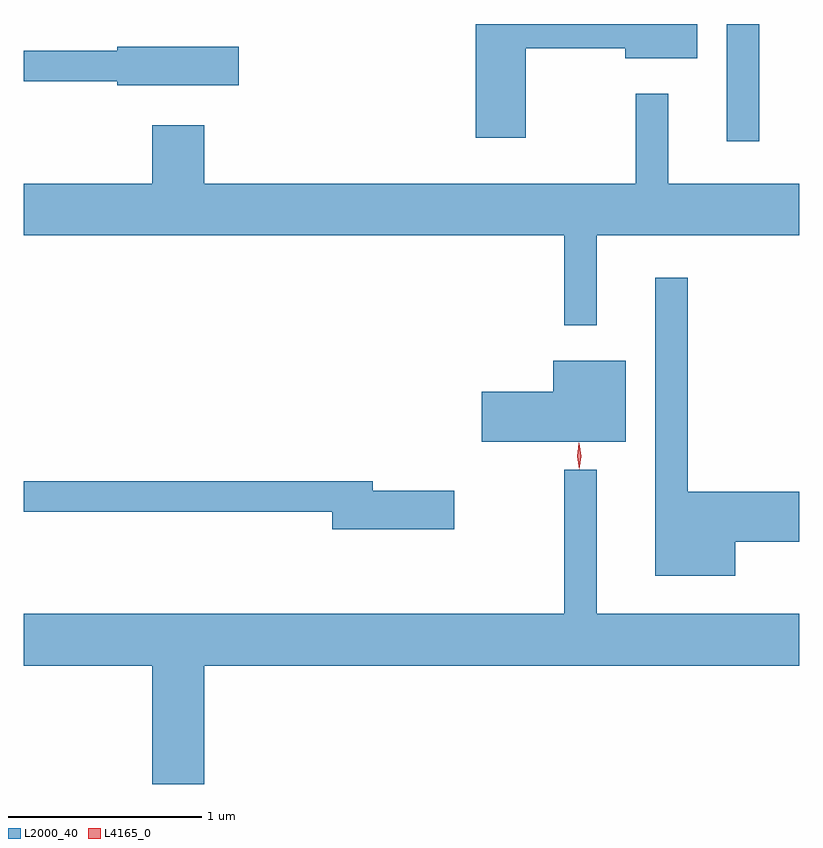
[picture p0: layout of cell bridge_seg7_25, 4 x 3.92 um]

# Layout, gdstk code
import gdstk
lib = gdstk.Library(unit=1e-6, precision=1e-09)
def R(c, l, rs):  # rectangles x0, y0, x1, y1
    for r in rs: c.add(gdstk.rectangle(r[:2], r[2:], *l))
def P(c, l, *ps):  # polygons
    for p in ps: c.add(gdstk.Polygon(p, *l))
L2000_40 = (2000, 40)
L4165_0 = (4165, 0)

bridge_seg7_25 = lib.new_cell('bridge_seg7_25')
R(bridge_seg7_25, L2000_40, [(1776.481,1770.303,1776.649,1770.907)])
P(bridge_seg7_25, L2000_40, [(1775.444,1770.781),(1775.956,1770.781),(1775.956,1770.731),(1776.329,1770.731),(1776.329,1770.907),(1775.186,1770.907),(1775.186,1770.321),(1775.444,1770.321)],
  [(1773.964,1770.789),(1773.336,1770.789),(1773.336,1770.769),(1772.854,1770.769),(1772.854,1770.611),(1773.336,1770.611),(1773.336,1770.591),(1773.964,1770.591)],
  [(1775.809,1769.816),(1776.854,1769.816),(1776.854,1770.084),(1776.179,1770.084),(1776.179,1770.548),(1776.011,1770.548),(1776.011,1770.084),(1773.784,1770.084),(1773.784,1770.384),(1773.516,1770.384),(1773.516,1770.084),(1772.854,1770.084),(1772.854,1769.816),(1775.641,1769.816),(1775.641,1769.353),(1775.809,1769.353)],
  [(1776.524,1768.236),(1776.854,1768.236),(1776.854,1768.494),(1776.279,1768.494),(1776.279,1769.598),(1776.111,1769.598),(1776.111,1768.061),(1776.524,1768.061)],
  [(1775.959,1769.169),(1775.586,1769.169),(1775.586,1769.009),(1775.216,1769.009),(1775.216,1768.751),(1775.959,1768.751)],
  [(1773.784,1767.596),(1776.854,1767.596),(1776.854,1767.864),(1775.809,1767.864),(1775.809,1768.608),(1775.641,1768.608),(1775.641,1767.864),(1772.854,1767.864),(1772.854,1767.596),(1773.516,1767.596),(1773.516,1766.986),(1773.784,1766.986)],
  [(1775.074,1768.499),(1774.654,1768.499),(1774.654,1768.549),(1772.854,1768.549),(1772.854,1768.391),(1774.446,1768.391),(1774.446,1768.301),(1775.074,1768.301)])
P(bridge_seg7_25, L4165_0, [(1775.719,1768.61),(1775.719,1768.61),(1775.709,1768.678),(1775.718,1768.745),(1775.718,1768.746),(1775.719,1768.745),(1775.729,1768.678),(1775.72,1768.61)],
  [(1775.719,1768.613),(1775.719,1768.613),(1775.709,1768.676),(1775.718,1768.739),(1775.718,1768.74),(1775.719,1768.739),(1775.729,1768.676),(1775.72,1768.613)])

lib.write_gds('bridge_seg7_25.gds')
